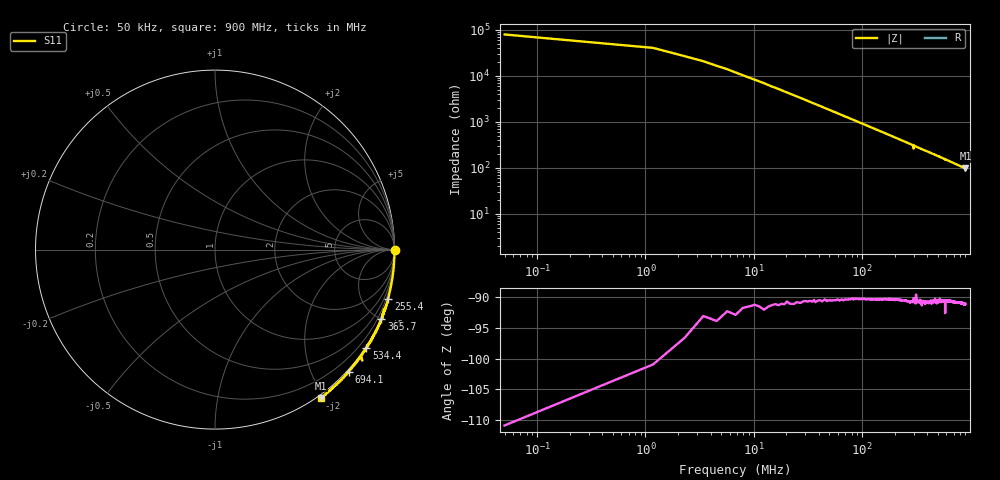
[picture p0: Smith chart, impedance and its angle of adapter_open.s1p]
! NanoVNA-App
! Date: 2026-10-30 13:08:28
! Start: 50kHz Stop: 900MHz Points: 801
! S-Parameter data: F S11
# Hz S RI R 50
!  Frequency  S11_Real  S11_Imag
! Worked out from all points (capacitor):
!   801 points, 50 kHz to 900 MHz, reference 50 ohm
!   read as one part to ground: C = 1.99 pF near 4.55 MHz
!   lowest |Z| = 96.9 ohm at 900 MHz (marker M1)
!   S11 on the Smith chart (normalised r, x): 50 kHz: open; 255.4 MHz: -0.08, -7.21; 365.7 MHz: -0.07, -4.98; 534.4 MHz: -0.03, -3.38; 694.1 MHz: -0.04, -2.57; 900 MHz: -0.04, -1.94
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50000  1 -0.00117
5.179712e7  0.9989 -0.0568
1.125438e8  0.9933 -0.1216
2.250375e8  0.9727 -0.2411
2.554108e8  0.965 -0.2728
2.936587e8  0.9536 -0.3132
2.947836e8  0.9529 -0.3137
2.959086e8  0.9529 -0.3156
3.037831e8  0.9502 -0.324
3.049081e8  0.95 -0.325
3.06033e8  0.9499 -0.3268
3.375312e8  0.9378 -0.3591
3.656547e8  0.9274 -0.3879
4.117771e8  0.9081 -0.4335
4.50025e8  0.8892 -0.4704
4.893978e8  0.8716 -0.5081
5.343953e8  0.8432 -0.5476
5.625188e8  0.8268 -0.5711
5.782679e8  0.8178 -0.5848
5.805178e8  0.8158 -0.5869
5.883923e8  0.8129 -0.5948
5.906422e8  0.8113 -0.5965
6.750125e8  0.7568 -0.6666
6.941364e8  0.7441 -0.6824
7.301344e8  0.718 -0.7105
7.875062e8  0.6753 -0.7519
8.718766e8  0.6131 -0.8104
9e8  0.5886 -0.8272
